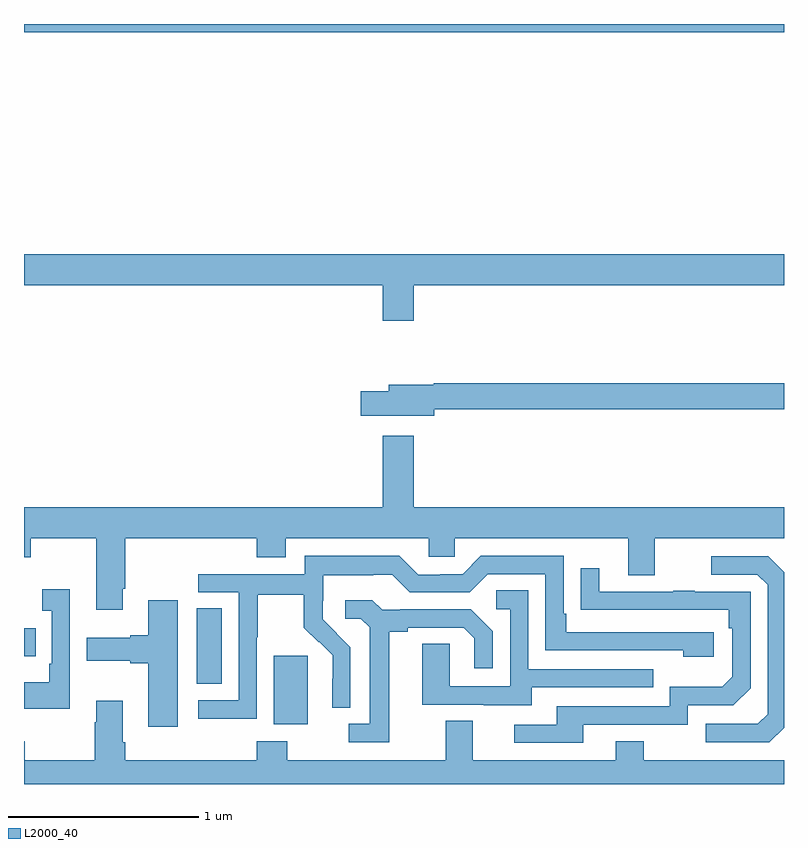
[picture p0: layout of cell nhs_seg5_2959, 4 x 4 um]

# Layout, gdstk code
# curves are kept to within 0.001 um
import gdstk
lib = gdstk.Library(unit=1e-6, precision=1e-09)
def R(c, l, rs):  # rectangles x0, y0, x1, y1
    for r in rs: c.add(gdstk.rectangle(r[:2], r[2:], *l))
def P(c, l, *ps):  # polygons
    for p in ps: c.add(gdstk.Polygon(p, *l))
L2000_40 = (2000, 40)

nhs_seg5_2959 = lib.new_cell('nhs_seg5_2959')
R(nhs_seg5_2959, L2000_40, [(284.315,857.114,284.494,857.475), (283.91,857.326,284.041,857.723), (283,857.471,283.061,857.619), (283,860.756,287,860.799)])
P(nhs_seg5_2959, L2000_40, [(285.052,859.424),(287,859.424),(287,859.588),(283,859.588),(283,859.424),(284.888,859.424),(284.888,859.236),(285.052,859.236)],
  [(285.16,858.772),(287,858.772),(287,858.908),(285.156,858.908),(285.156,858.901),(284.921,858.901),(284.921,858.867),(284.772,858.867),(284.772,858.737),(285.16,858.737)],
  [(283.519,857.827),(283.532,857.827),(283.532,858.092),(284.225,858.092),(284.225,857.993),(284.377,857.993),(284.377,858.092),(285.129,858.092),(285.129,857.994),(285.267,857.994),(285.267,858.092),(286.181,858.092),(286.181,857.898),(286.321,857.898),(286.321,858.092),(287,858.092),(287,858.256),(285.052,858.256),(285.052,858.631),(284.888,858.631),(284.888,858.256),(283,858.256),(283,857.993),(283.035,857.993),(283.035,858.092),(283.379,858.092),(283.379,857.715),(283.519,857.715)],
  [(284.226,857.572),(284.229,857.572),(284.229,857.796),(284.473,857.796),(284.473,857.621),(284.55,857.544),(284.553,857.547),(284.624,857.477),(284.624,857.354),(284.622,857.354),(284.622,857.2),(284.718,857.2),(284.718,857.518),(284.572,857.666),(284.572,857.763),(284.574,857.763),(284.574,857.897),(284.837,857.897),(284.837,857.901),(284.937,857.901),(285.03,857.808),(285.345,857.808),(285.441,857.904),(285.744,857.904),(285.744,857.502),(286.469,857.502),(286.469,857.468),(286.63,857.468),(286.63,857.598),(285.853,857.598),(285.853,857.695),(285.84,857.695),(285.84,858),(285.405,858),(285.309,857.904),(285.191,857.904),(285.191,857.901),(285.075,857.901),(284.975,858.001),(284.478,858.001),(284.478,857.904),(283.917,857.904),(283.917,857.808),(284.13,857.808),(284.13,857.241),(283.917,857.241),(283.917,857.143),(284.226,857.143)],
  [(287,857.096),(287,857.914),(286.917,857.997),(286.617,857.997),(286.617,857.901),(286.86,857.901),(286.914,857.847),(286.914,857.166),(286.863,857.115),(286.587,857.115),(286.587,857.019),(286.923,857.019)],
  [(285.943,857.112),(286.494,857.112),(286.494,857.214),(286.734,857.214),(286.824,857.304),(286.824,857.811),(286.529,857.811),(286.529,857.816),(286.417,857.816),(286.417,857.811),(286.027,857.811),(286.027,857.935),(285.931,857.935),(285.931,857.716),(286.708,857.715),(286.708,857.618),(286.728,857.618),(286.728,857.364),(286.675,857.311),(286.398,857.311),(286.398,857.208),(285.803,857.208),(285.803,857.112),(285.579,857.112),(285.579,857.016),(285.943,857.016)],
  [(283.242,857.824),(283.095,857.824),(283.095,857.711),(283.146,857.711),(283.146,857.431),(283.134,857.431),(283.134,857.335),(283,857.335),(283,857.195),(283.242,857.195)],
  [(285.673,857.307),(286.313,857.307),(286.313,857.403),(285.654,857.403),(285.654,857.819),(285.486,857.819),(285.486,857.718),(285.558,857.718),(285.558,857.313),(285.24,857.313),(285.24,857.537),(285.095,857.537),(285.095,857.217),(285.419,857.217),(285.419,857.213),(285.673,857.213)],
  [(283.81,857.767),(283.655,857.767),(283.655,857.582),(283.559,857.582),(283.559,857.569),(283.329,857.569),(283.329,857.447),(283.559,857.447),(283.559,857.435),(283.655,857.435),(283.655,857.1),(283.81,857.1)],
  [(284.923,857.6),(285.019,857.6),(285.019,857.622),(285.314,857.622),(285.371,857.565),(285.371,857.409),(285.468,857.409),(285.468,857.602),(285.352,857.718),(284.98,857.718),(284.98,857.715),(284.886,857.715),(284.834,857.767),(284.691,857.767),(284.691,857.67),(284.772,857.67),(284.819,857.623),(284.819,857.115),(284.709,857.115),(284.709,857.019),(284.923,857.019)],
  [(287,856.924),(286.263,856.924),(286.263,857.023),(286.115,857.023),(286.115,856.924),(285.361,856.924),(285.361,857.132),(285.221,857.132),(285.221,856.924),(284.385,856.924),(284.385,857.023),(284.225,857.023),(284.225,856.924),(283.532,856.924),(283.532,857.02),(283.519,857.02),(283.519,857.236),(283.379,857.236),(283.379,857.123),(283.372,857.123),(283.372,856.924),(283.005,856.924),(283.005,857.023),(283,857.023),(283,856.799),(287,856.799)])

lib.write_gds('nhs_seg5_2959.gds')
